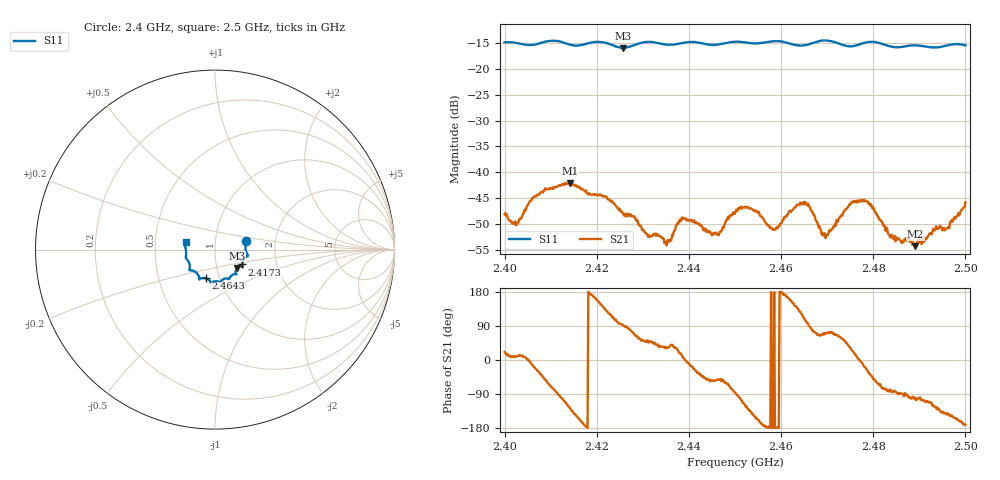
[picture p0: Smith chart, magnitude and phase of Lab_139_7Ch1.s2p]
# Hz S RI R 50
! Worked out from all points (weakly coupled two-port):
!   601 points, 2.4 GHz to 2.5 GHz, reference 50 ohm
!   highest |S21| = -42.10 dB at 2.4142 GHz (marker M1); lowest = -54.3 dB at 2.4892 GHz (marker M2)
!   lowest |S11| = -15.9 dB at 2.4257 GHz (marker M3), VSWR 1.38, Z = 62.4 - j13.1 ohm
!   |S11| at or under -10 dB: start of sweep to end of sweep
!   S12 and S22 are empty: the file has one direction only
!   S11 on the Smith chart (normalised r, x): 2.4 GHz: 1.41, +0.14; 2.4173 GHz: 1.34, -0.23; 2.4643 GHz: 0.86, -0.28; 2.5 GHz: 0.72, +0.06
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2.4e9  0.1735 0.049  0.00366 0.0014  0 0  0 0
2.4025e9  0.1745 0.0382  0.00303 0.000477  0 0  0 0
2.4065e9  0.1714 -0.00493  0.00546 -0.00189  0 0  0 0
2.414167e9  0.1645 -0.0483  -0.00468 -0.0063  0 0  0 0
2.416667e9  0.1526 -0.0751  -0.00666 -0.00206  0 0  0 0
2.417333e9  0.1519 -0.0824  -0.00656 -0.000922  0 0  0 0
2.425667e9  0.1223 -0.1024  -9.73e-05 0.00402  0 0  0 0
2.433333e9  0.1127 -0.1366  0.00184 0.00157  0 0  0 0
2.435667e9  0.0965 -0.1413  0.00187 0.00122  0 0  0 0
2.438833e9  0.081 -0.1591  0.00352 0.000306  0 0  0 0
2.446167e9  0.046 -0.1654  0.00154 -0.00199  0 0  0 0
2.45e9  0.0295 -0.1806  0.000303 -0.00396  0 0  0 0
2.453e9  0.0175 -0.1774  -0.00308 -0.00333  0 0  0 0
2.458667e9  -0.021 -0.1843  -0.00279 -5.69e-05  0 0  0 0
2.464333e9  -0.0503 -0.1601  -0.00265 0.00409  0 0  0 0
2.466667e9  -0.0761 -0.1595  0.000747 0.00416  0 0  0 0
2.469667e9  -0.0875 -0.1666  0.000801 0.00217  0 0  0 0
2.475333e9  -0.1097 -0.1237  0.00466 0.00227  0 0  0 0
2.478333e9  -0.1376 -0.1158  0.00491 -0.00186  0 0  0 0
2.483333e9  -0.1405 -0.0896  0.000296 -0.0025  0 0  0 0
2.489167e9  -0.1626 -0.0455  -0.000312 -0.00191  0 0  0 0
2.5e9  -0.1639 0.0416  -0.00506 -0.000776  0 0  0 0
